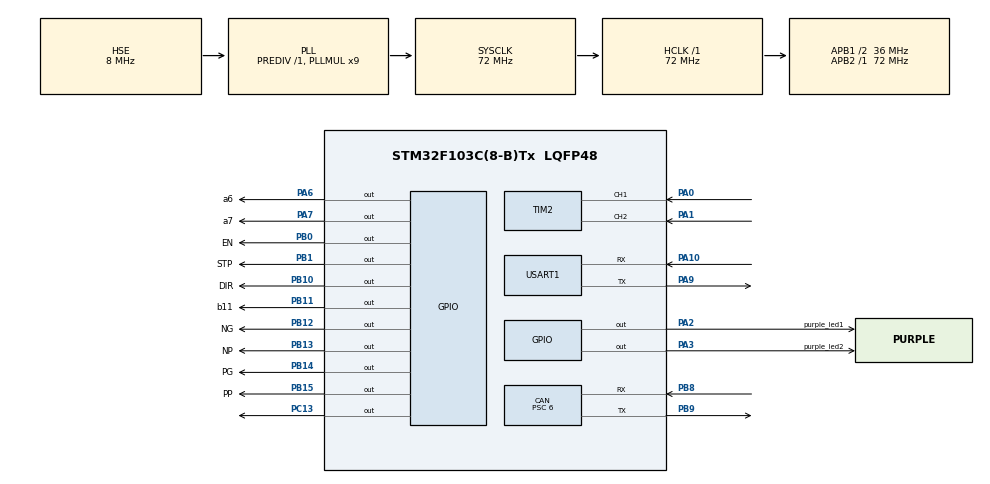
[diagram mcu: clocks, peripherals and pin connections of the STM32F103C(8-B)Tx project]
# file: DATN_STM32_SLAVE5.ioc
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CAN.BS1=CAN_BS1_2TQ
CAN.BS2=CAN_BS2_3TQ
CAN.CalculateBaudRate=999999
CAN.CalculateTimeBit=1000
CAN.CalculateTimeQuantum=166.66666666666669
CAN.NART=DISABLE
CAN.Prescaler=6
Mcu.Family=STM32F1
Mcu.Name=STM32F103C(8-B)Tx
Mcu.Package=LQFP48
NVIC.PriorityGroup=NVIC_PRIORITYGROUP_0
NVIC.TIM1_UP_IRQn=true\:0\:0\:false\:false\:true\:true\:true\:true
NVIC.TIM2_IRQn=true\:0\:0\:false\:false\:true\:true\:true\:true
NVIC.USART1_IRQn=true\:0\:0\:false\:false\:true\:true\:true\:true
NVIC.USB_LP_CAN1_RX0_IRQn=true\:0\:0\:false\:false\:true\:true\:true\:true
PA0-WKUP.GPIO_PuPd=GPIO_PULLUP
PA0-WKUP.Signal=S_TIM2_CH1_ETR
PA1.GPIO_PuPd=GPIO_PULLUP
PA1.Signal=S_TIM2_CH2
PA10.Mode=Asynchronous
PA10.Signal=USART1_RX
PA13.Mode=Serial_Wire
PA13.Signal=SYS_JTMS-SWDIO
PA14.Mode=Serial_Wire
PA14.Signal=SYS_JTCK-SWCLK
PA2.GPIO_Label=purple_led1
PA2.Signal=GPIO_Output
PA3.GPIO_Label=purple_led2
PA3.Signal=GPIO_Output
PA6.GPIO_Label=a6
PA6.Signal=GPIO_Output
PA7.GPIO_Label=a7
PA7.Signal=GPIO_Output
PA9.Mode=Asynchronous
PA9.Signal=USART1_TX
PB0.GPIO_Label=EN
PB0.Signal=GPIO_Output
PB1.GPIO_Label=STP
PB1.Signal=GPIO_Output
PB10.GPIO_Label=DIR
PB10.Signal=GPIO_Output
PB11.GPIO_Label=b11
PB11.Signal=GPIO_Output
PB12.GPIO_Label=NG
PB12.GPIO_Speed=GPIO_SPEED_FREQ_HIGH
PB12.PinState=GPIO_PIN_SET
PB12.Signal=GPIO_Output
PB13.GPIO_Label=NP
PB13.GPIO_Speed=GPIO_SPEED_FREQ_HIGH
PB13.PinState=GPIO_PIN_SET
PB13.Signal=GPIO_Output
PB14.GPIO_Label=PG
PB14.GPIO_Speed=GPIO_SPEED_FREQ_HIGH
PB14.PinState=GPIO_PIN_SET
PB14.Signal=GPIO_Output
PB15.GPIO_Label=PP
PB15.GPIO_Speed=GPIO_SPEED_FREQ_HIGH
PB15.PinState=GPIO_PIN_SET
PB15.Signal=GPIO_Output
PB8.Mode=CAN_Activate
PB8.Signal=CAN_RX
PB9.Mode=CAN_Activate
PB9.Signal=CAN_TX
PC13-TAMPER-RTC.GPIO_Speed=GPIO_SPEED_FREQ_HIGH
PC13-TAMPER-RTC.Signal=GPIO_Output
PC14-OSC32_IN.Mode=LSE-External-Oscillator
PC14-OSC32_IN.Signal=RCC_OSC32_IN
PC15-OSC32_OUT.Mode=LSE-External-Oscillator
PC15-OSC32_OUT.Signal=RCC_OSC32_OUT
PD0-OSC_IN.Mode=HSE-External-Oscillator
PD0-OSC_IN.Signal=RCC_OSC_IN
PD1-OSC_OUT.Mode=HSE-External-Oscillator
PD1-OSC_OUT.Signal=RCC_OSC_OUT
ProjectManager.HeapSize=0x200
ProjectManager.StackSize=0x400
ProjectManager.TargetToolchain=STM32CubeIDE
RCC.AHBFreq_Value=72000000
RCC.APB1CLKDivider=RCC_HCLK_DIV2
RCC.APB1Freq_Value=36000000
RCC.APB1TimFreq_Value=72000000
RCC.APB2Freq_Value=72000000
RCC.APB2TimFreq_Value=72000000
RCC.HCLKFreq_Value=72000000
RCC.PLLMUL=RCC_PLL_MUL9
RCC.PLLSourceVirtual=RCC_PLLSOURCE_HSE
RCC.SYSCLKFreq_VALUE=72000000
RCC.SYSCLKSource=RCC_SYSCLKSOURCE_PLLCLK
RCC.USBFreq_Value=72000000
SH.S_TIM2_CH1_ETR.0=TIM2_CH1,Encoder_Interface
SH.S_TIM2_CH2.0=TIM2_CH2,Encoder_Interface
TIM1.Period=999
TIM1.Prescaler=71
TIM2.AutoReloadPreload=TIM_AUTORELOAD_PRELOAD_DISABLE
TIM2.EncoderMode=TIM_ENCODERMODE_TI12
TIM2.IC1Polarity=TIM_ICPOLARITY_FALLING
TIM2.IC2Polarity=TIM_ICPOLARITY_FALLING
TIM2.TIM_MasterOutputTrigger=TIM_TRGO_ENABLE
TIM2.TIM_MasterSlaveMode=TIM_MASTERSLAVEMODE_ENABLE
TIM4.Prescaler=71
USART1.VirtualMode=VM_ASYNC
VP_TIM1_VS_ClockSourceINT.Mode=Internal
VP_TIM4_VS_ClockSourceINT.Mode=Internal
board=custom

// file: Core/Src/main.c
/* USER CODE BEGIN Header */
/**
 ******************************************************************************
 * @file           : main.c
 * @brief          : Main program body
 ******************************************************************************
 * @attention
 *
 * Copyright (c) 2023 STMicroelectronics.
 * All rights reserved.
 *
 * This software is licensed under terms that can be found in the LICENSE file
 * in the root directory of this software component.
 * If no LICENSE file comes with this software, it is provided AS-IS.
 *
 ******************************************************************************
 */
/* USER CODE END Header */
#include "main.h"

/* USER CODE BEGIN Includes */
#include <stdio.h>
#include <stdbool.h>
#include <string.h>
#include <stdlib.h>
#include <math.h>
/* USER CODE END Includes */

/* USER CODE BEGIN PTD */

CAN_TxHeaderTypeDef TX_CAN_HEADER;
CAN_RxHeaderTypeDef RX_CAN_HEADER;
CAN_FilterTypeDef canfilterconfig;

//=============MODE
#define AC_SERVO 0
#define STP_MOTOR 1

bool Mode = STP_MOTOR;
uint8_t Position;
//=============DEBUG
uint16_t count; // for debug
uint32_t position; // for debug

//=============MOTOR
#define GearboxAC_DtoP 15*1000/360 //Manual setup
#define EncoderResolution 15*200/360 // Encoder with 200ppr and 15 gearbox
#define ConvertEtoA 0.12 // 360/(15*200)
//#define GearboxStep_DtoP 1600*5.61/360 // gear box of step motor
#define GearboxStep_DtoP 1600*13.7*6.5/360 // gear box of step motor

//float Theta_temp=0; //for debug
//float deltaAngle=0;
float previousAngle = 0;

int16_t Angle = 0; //Current Angle
uint16_t resetAngle = 0;

bool Run = false;
//=============UART
#define TxBufferSize 4  //Transmit Data
#define RxBufferSize 10 //Receive Data Position

#define UART_OK 1
#define UART_NOT_OK 0

uint8_t TxDataUart[TxBufferSize];
uint8_t RxDataUart[RxBufferSize];
uint8_t RxSaveUart[RxBufferSize];

//=============CAN
uint8_t CAN_Data_Rx[6]; // du lieu nhan tu can
uint32_t TxMailBox;

float pulseEnd = 0; //luu xung cho lan tiep
bool Check_Data = 0; //kiem tra du lie

uint8_t Data_Decode[6] = {'0'}; // Array temp for data send to master
char Data_Saved[6]; //du lieu duoc luu vao sau khi nhan tu CAN
bool flag_send = false; // cho phep gui du lieu
bool flag_run = false;

//=============TIMER1
bool flag_timer1 = false;
bool flag_enable_send = false;
bool flag_getEncoderStep = false;

uint8_t countSampleTime = 0; // time for sampling
uint8_t countSendData = 0; // time for send data to CAN
uint16_t countEncoder = 0; // time for read encoder

//=============END=============

/* USER CODE END PTD */

/* USER CODE BEGIN PM */
volatile short ExternalPulse;
/* USER CODE END PM */

CAN_HandleTypeDef hcan;

TIM_HandleTypeDef htim1;
TIM_HandleTypeDef htim2;
TIM_HandleTypeDef htim4;

UART_HandleTypeDef huart1;

void SystemClock_Config(void);
static void MX_GPIO_Init(void);
static void MX_TIM1_Init(void);
static void MX_TIM2_Init(void);
static void MX_TIM4_Init(void);
static void MX_CAN_Init(void);
static void MX_USART1_UART_Init(void);

/* USER CODE BEGIN 0 */

//=================ENCODER DATA (Checked)
void EncodeDataDC(uint8_t dataSend[])
{

	int IntValue = abs(Angle/100);
	int DecValue = abs(Angle%100);

	dataSend[0] = DecValue/1%10;
	dataSend[1] = DecValue/10%10;

	dataSend[2] = IntValue/1%10;
	dataSend[3] = IntValue/10%10;
	dataSend[4] = IntValue/100%10;

	if(Angle < 0) dataSend[5] = '-';
	else 		  dataSend[5] = '+';
}

void EncodeDataAC(uint8_t dataSend[])
{
	ExternalPulse = __HAL_TIM_GET_COUNTER(&htim2); // Numbers input pulse
	Angle = ExternalPulse*ConvertEtoA*100;// AC-: 200 Pulse / Cycle * 15 Gear Box *100 to get 2 decimal

	int IntValue = abs(Angle/100);
	int DecValue = abs(Angle%100);

	dataSend[0] = DecValue/1%10;
	dataSend[1] = DecValue/10%10;

	dataSend[2] = IntValue/1%10;
	dataSend[3] = IntValue/10%10;
	dataSend[4] = IntValue/100%10;

	if(Angle < 0) dataSend[5] = '-';
	else	      dataSend[5] = '+';
}

//=================TIMER4 COUNTER MODE DELAY (checked)
void delay_us (uint16_t us)
{
	__HAL_TIM_SET_COUNTER(&htim4,0);
	while (__HAL_TIM_GET_COUNTER(&htim4) < us);
}

//=================CONTROL DC MOTOR (checked tempt)
void ForwardDC(uint16_t l_pulseIn, uint16_t timeDelay)
{
	HAL_GPIO_WritePin(DIR_GPIO_Port, DIR_Pin, GPIO_PIN_SET);
	for(uint16_t i =0; i < l_pulseIn; i++)
	{
		HAL_GPIO_WritePin(STP_GPIO_Port, STP_Pin, GPIO_PIN_SET);
		delay_us(timeDelay);
		HAL_GPIO_WritePin(STP_GPIO_Port, STP_Pin, GPIO_PIN_RESET);
		delay_us(timeDelay);
	}
}
void InverseDC(uint16_t l_pulseIn, uint16_t timeDelay)
{
	HAL_GPIO_WritePin(DIR_GPIO_Port, DIR_Pin, GPIO_PIN_RESET);
	for(uint16_t i = 0; i < l_pulseIn; i++)
	{
		HAL_GPIO_WritePin(STP_GPIO_Port, STP_Pin, GPIO_PIN_SET);
		delay_us(timeDelay);
		HAL_GPIO_WritePin(STP_GPIO_Port, STP_Pin, GPIO_PIN_RESET);
		delay_us(timeDelay);
	}
}

//=================CONTROL AC SERVO (checked tempt)
void Create_pulse_Forward_AC(uint32_t pulse_in, uint32_t time_delay)
{
	HAL_GPIO_WritePin(GPIOB, NP_Pin, GPIO_PIN_SET);
	for (int i = 0; i < pulse_in; i++)
	{
		HAL_GPIO_WritePin(GPIOB, PP_Pin, GPIO_PIN_RESET);
		delay_us(time_delay);
		HAL_GPIO_WritePin(GPIOB, PP_Pin, GPIO_PIN_SET);
		delay_us(time_delay);
	}
}
void Create_pulse_Inverse_AC(uint32_t pulse_in, uint32_t time_delay)
{
	HAL_GPIO_WritePin(GPIOB, NP_Pin, GPIO_PIN_RESET);
	for (int i = 0; i < pulse_in; i++)
	{
		HAL_GPIO_WritePin(GPIOB, PP_Pin, GPIO_PIN_RESET);
		delay_us(time_delay);
		HAL_GPIO_WritePin(GPIOB, PP_Pin, GPIO_PIN_SET);
		delay_us(time_delay);
	}
}

//=================MODE CONTROL AC SERVO/DC MOTOR (Checked)
void Control_Motor(float DELTA)
{
	if(Mode == AC_SERVO)
	{
		float deltaPulse = DELTA*GearboxAC_DtoP; //number 15*1000/360
		pulseEnd += deltaPulse - (int32_t)deltaPulse;
		int32_t pulseSupply = deltaPulse + (int32_t)pulseEnd/1;

		pulseEnd -= (int32_t)pulseEnd/1;
		if(pulseSupply > 0)
		{
			Create_pulse_Forward_AC(abs(pulseSupply), 10);
		}
		else
		{
			Create_pulse_Inverse_AC(abs(pulseSupply), 10);
		}
	}
	if(Mode == STP_MOTOR)
	{
		float deltaPulse = DELTA*GearboxStep_DtoP;
		pulseEnd += deltaPulse - (int32_t)deltaPulse;
		int32_t pulseSupply = deltaPulse + (int32_t)pulseEnd/1;

		pulseEnd -= (int32_t)pulseEnd/1;
		if(pulseSupply > 0)
		{
			ForwardDC(abs(pulseSupply), 100);
		}
		else if(pulseSupply < 0)
		{
			InverseDC(abs(pulseSupply), 100);
		}
		else;
	}
}

//=================TIMER1 TIMER MODE SAMPLE TIME (checked)
void HAL_TIM_PeriodElapsedCallback(TIM_HandleTypeDef *htim)
{
	if(htim->Instance == TIM1)
	{
		countSampleTime++;
		countSendData++;
		if(countSampleTime == 30)
		{
			flag_timer1 = true;
			countSampleTime = 0;
		}
		if(countSendData == 10)
		{
			flag_enable_send = true;
			countSendData = 0;
		}
	}
}
//=================TIMER2 EXTERNAL COUNTER MODE ENCODER (Checked)
void HAL_TIM_IC_CaptureCallback(TIM_HandleTypeDef *htim)
{
	if(htim->Instance == TIM2)
	{
		ExternalPulse = __HAL_TIM_GET_COUNTER(&htim2);
	}
}

//=================INTERRUPT CAN RECEIVE MESSAGE (Checked)
void HAL_CAN_RxFifo0MsgPendingCallback(CAN_HandleTypeDef *hcan)
{
	if(HAL_CAN_GetRxMessage(hcan, CAN_RX_FIFO0, &RX_CAN_HEADER, CAN_Data_Rx) == HAL_OK)
	{
		switch(RX_CAN_HEADER.StdId)
		{
		case 0x010:
			Data_Saved[0] = CAN_Data_Rx[0];
			Data_Saved[1] = CAN_Data_Rx[1];
			Data_Saved[2] = CAN_Data_Rx[2];
			Data_Saved[3] = CAN_Data_Rx[3];
			Data_Saved[4] = CAN_Data_Rx[4];
			Data_Saved[5] = CAN_Data_Rx[5];
			HAL_GPIO_TogglePin(GPIOC, GPIO_PIN_13);
			break;
		case 0x000:
			if(CAN_Data_Rx[0] == 's')
			{
				flag_run = true;
			}
			if(CAN_Data_Rx[0] == '5')
			{
				flag_send = true;
				HAL_GPIO_TogglePin(purple_led1_GPIO_Port, purple_led1_Pin);
			}
			if(CAN_Data_Rx[0] == 'r')
			{
				TIM2->CNT=0;
				ExternalPulse = 0;
				resetAngle = Angle;
				Angle = 0;
				previousAngle = 0;
			}
			break;
		}
	}
}
/* USER CODE END 0 */

int main(void)
{

	/* MCU Configuration--------------------------------------------------------*/

	/* Reset of all peripherals, Initializes the Flash interface and the Systick. */
	HAL_Init();

	/* Configure the system clock */
	SystemClock_Config();

	/* Initialize all configured peripherals */
	MX_GPIO_Init();
	MX_TIM1_Init();
	MX_TIM2_Init();
	MX_TIM4_Init();
	MX_CAN_Init();
	MX_USART1_UART_Init();
	/* USER CODE BEGIN 2 */

	//========CAN
	HAL_CAN_Start(&hcan);
	HAL_CAN_ActivateNotification(&hcan, CAN_IT_RX_FIFO0_MSG_PENDING); // Enable interrupts

	//========TIMER AND COUNTER
	HAL_TIM_Base_Start(&htim4);
	HAL_TIM_Base_Start_IT(&htim1);

	//========SET DEFAULT PIN MODE
	HAL_GPIO_WritePin(GPIOB, PG_Pin, GPIO_PIN_SET);
	HAL_GPIO_WritePin(GPIOB, NG_Pin, GPIO_PIN_SET);
	HAL_GPIO_WritePin(GPIOB, PP_Pin, GPIO_PIN_SET);
	HAL_GPIO_WritePin(GPIOB, NP_Pin, GPIO_PIN_SET);

	//========STEP MOTOR SET PIN
	HAL_GPIO_WritePin(GPIOB, EN_Pin, GPIO_PIN_RESET); //Enable Step
	HAL_GPIO_WritePin(GPIOB, STP_Pin, GPIO_PIN_RESET);
	HAL_GPIO_WritePin(GPIOB, DIR_Pin, GPIO_PIN_RESET);

	HAL_GPIO_WritePin(purple_led1_GPIO_Port, purple_led1_Pin, GPIO_PIN_SET);
	HAL_GPIO_WritePin(purple_led2_GPIO_Port, purple_led2_Pin, GPIO_PIN_SET);
	/* USER CODE END 2 */

	/* Infinite loop */
	while (1)
	{

		/* USER CODE BEGIN 3 */
		if(flag_timer1 == true)
		{
			flag_timer1 = false;
			if(flag_run == true)
			{
				flag_run = false;
				float Theta_temp = atoi(Data_Saved);
				float deltaAngle = Theta_temp/100 - previousAngle;
				Control_Motor(deltaAngle);
				previousAngle += deltaAngle;
			}
		}
		//==========UPDATE INFO FOR MASTER AND SLAVE 2
		if(flag_send == true && flag_enable_send == true)
		{
			//Down-flag for next time.
			flag_send = false;
			flag_enable_send = false;

			if(Mode == AC_SERVO) EncodeDataAC(Data_Decode);
			else EncodeDataDC(Data_Decode);

			TX_CAN_HEADER.StdId = 0x010; //Send to Master
			if(HAL_CAN_AddTxMessage(&hcan, &TX_CAN_HEADER, Data_Decode, &TxMailBox) == HAL_OK)
			{
				HAL_GPIO_TogglePin(purple_led2_GPIO_Port, purple_led2_Pin);
			}
			delay_us(300);

			TX_CAN_HEADER.StdId = 0x000; //Send to all
			uint8_t RunCode;
			RunCode = '6'; // RunCode for Motor6
			if(HAL_CAN_AddTxMessage(&hcan, &TX_CAN_HEADER, &RunCode, &TxMailBox)==HAL_OK)
			{
				HAL_GPIO_TogglePin(purple_led1_GPIO_Port, purple_led1_Pin);
			}
		}
	}
	/* USER CODE END 3 */
}

void SystemClock_Config(void)
{
	RCC_OscInitTypeDef RCC_OscInitStruct = {0};
	RCC_ClkInitTypeDef RCC_ClkInitStruct = {0};

	/** Initializes the RCC Oscillators according to the specified parameters
	 * in the RCC_OscInitTypeDef structure.
	 */
	RCC_OscInitStruct.OscillatorType = RCC_OSCILLATORTYPE_HSE;
	RCC_OscInitStruct.HSEState = RCC_HSE_ON;
	RCC_OscInitStruct.HSEPredivValue = RCC_HSE_PREDIV_DIV1;
	RCC_OscInitStruct.HSIState = RCC_HSI_ON;
	RCC_OscInitStruct.PLL.PLLState = RCC_PLL_ON;
	RCC_OscInitStruct.PLL.PLLSource = RCC_PLLSOURCE_HSE;
	RCC_OscInitStruct.PLL.PLLMUL = RCC_PLL_MUL9;
	if (HAL_RCC_OscConfig(&RCC_OscInitStruct) != HAL_OK)
	{
		Error_Handler();
	}

	/** Initializes the CPU, AHB and APB buses clocks
	 */
	RCC_ClkInitStruct.ClockType = RCC_CLOCKTYPE_HCLK|RCC_CLOCKTYPE_SYSCLK
			|RCC_CLOCKTYPE_PCLK1|RCC_CLOCKTYPE_PCLK2;
	RCC_ClkInitStruct.SYSCLKSource = RCC_SYSCLKSOURCE_PLLCLK;
	RCC_ClkInitStruct.AHBCLKDivider = RCC_SYSCLK_DIV1;
	RCC_ClkInitStruct.APB1CLKDivider = RCC_HCLK_DIV2;
	RCC_ClkInitStruct.APB2CLKDivider = RCC_HCLK_DIV1;

	if (HAL_RCC_ClockConfig(&RCC_ClkInitStruct, FLASH_LATENCY_2) != HAL_OK)
	{
		Error_Handler();
	}
}

static void MX_CAN_Init(void)
{

	hcan.Instance = CAN1;
	hcan.Init.Prescaler = 6;
	hcan.Init.Mode = CAN_MODE_NORMAL;
	hcan.Init.SyncJumpWidth = CAN_SJW_1TQ;
	hcan.Init.TimeSeg1 = CAN_BS1_2TQ;
	hcan.Init.TimeSeg2 = CAN_BS2_3TQ;
	hcan.Init.TimeTriggeredMode = DISABLE;
	hcan.Init.AutoBusOff = DISABLE;
	hcan.Init.AutoWakeUp = DISABLE;
	hcan.Init.AutoRetransmission = DISABLE;
	hcan.Init.ReceiveFifoLocked = DISABLE;
	hcan.Init.TransmitFifoPriority = DISABLE;
	if (HAL_CAN_Init(&hcan) != HAL_OK)
	{
		Error_Handler();
	}
	/* USER CODE BEGIN CAN_Init 2 */
	canfilterconfig.FilterActivation = CAN_FILTER_ENABLE;
	canfilterconfig.FilterBank = 1; // which filter bank to use from the assigned ones
	canfilterconfig.FilterFIFOAssignment = CAN_FILTER_FIFO0; //
	canfilterconfig.FilterIdHigh = 0x010 << 5;
	canfilterconfig.FilterIdLow = 0x000;
	canfilterconfig.FilterMaskIdHigh = 0xfef << 5;
	canfilterconfig.FilterMaskIdLow = 0x000;
	canfilterconfig.FilterMode = CAN_FILTERMODE_IDMASK;
	canfilterconfig.FilterScale = CAN_FILTERSCALE_32BIT;
	canfilterconfig.SlaveStartFilterBank = 1;

	if(HAL_CAN_ConfigFilter(&hcan, &canfilterconfig) != HAL_OK) // add
	{
		Error_Handler();
	}
	/* -----------------------------CAN Transmit and Interrrupts ----------------------------- */
	TX_CAN_HEADER.RTR= CAN_RTR_DATA; //Remote transmission request = Data frame
	TX_CAN_HEADER.IDE= CAN_ID_STD; 	 //Standard Id (11 bits for the identifier)
	TX_CAN_HEADER.DLC= 6;
	TX_CAN_HEADER.StdId = 0x010;
	/* USER CODE END CAN_Init 2 */

}

static void MX_TIM1_Init(void)
{

	TIM_ClockConfigTypeDef sClockSourceConfig = {0};
	TIM_MasterConfigTypeDef sMasterConfig = {0};

	htim1.Instance = TIM1;
	htim1.Init.Prescaler = 71;
	htim1.Init.CounterMode = TIM_COUNTERMODE_UP;
	htim1.Init.Period = 99;
	htim1.Init.ClockDivision = TIM_CLOCKDIVISION_DIV1;
	htim1.Init.RepetitionCounter = 0;
	htim1.Init.AutoReloadPreload = TIM_AUTORELOAD_PRELOAD_DISABLE;
	if (HAL_TIM_Base_Init(&htim1) != HAL_OK)
	{
		Error_Handler();
	}
	sClockSourceConfig.ClockSource = TIM_CLOCKSOURCE_INTERNAL;
	if (HAL_TIM_ConfigClockSource(&htim1, &sClockSourceConfig) != HAL_OK)
	{
		Error_Handler();
	}
	sMasterConfig.MasterOutputTrigger = TIM_TRGO_RESET;
	sMasterConfig.MasterSlaveMode = TIM_MASTERSLAVEMODE_DISABLE;
	if (HAL_TIMEx_MasterConfigSynchronization(&htim1, &sMasterConfig) != HAL_OK)
	{
		Error_Handler();
	}

}

static void MX_TIM2_Init(void)
{

	TIM_Encoder_InitTypeDef sConfig = {0};
	TIM_MasterConfigTypeDef sMasterConfig = {0};

	htim2.Instance = TIM2;
	htim2.Init.Prescaler = 0;
	htim2.Init.CounterMode = TIM_COUNTERMODE_UP;
	htim2.Init.Period = 65535;
	htim2.Init.ClockDivision = TIM_CLOCKDIVISION_DIV1;
	htim2.Init.AutoReloadPreload = TIM_AUTORELOAD_PRELOAD_DISABLE;
	sConfig.EncoderMode = TIM_ENCODERMODE_TI12;
	sConfig.IC1Polarity = TIM_ICPOLARITY_FALLING;
	sConfig.IC1Selection = TIM_ICSELECTION_DIRECTTI;
	sConfig.IC1Prescaler = TIM_ICPSC_DIV1;
	sConfig.IC1Filter = 0;
	sConfig.IC2Polarity = TIM_ICPOLARITY_FALLING;
	sConfig.IC2Selection = TIM_ICSELECTION_DIRECTTI;
	sConfig.IC2Prescaler = TIM_ICPSC_DIV1;
	sConfig.IC2Filter = 0;
	if (HAL_TIM_Encoder_Init(&htim2, &sConfig) != HAL_OK)
	{
		Error_Handler();
	}
	sMasterConfig.MasterOutputTrigger = TIM_TRGO_ENABLE;
	sMasterConfig.MasterSlaveMode = TIM_MASTERSLAVEMODE_ENABLE;
	if (HAL_TIMEx_MasterConfigSynchronization(&htim2, &sMasterConfig) != HAL_OK)
	{
		Error_Handler();
	}

}

static void MX_TIM4_Init(void)
{

	TIM_ClockConfigTypeDef sClockSourceConfig = {0};
	TIM_MasterConfigTypeDef sMasterConfig = {0};

	htim4.Instance = TIM4;
	htim4.Init.Prescaler = 71;
	htim4.Init.CounterMode = TIM_COUNTERMODE_UP;
	htim4.Init.Period = 65535;
	htim4.Init.ClockDivision = TIM_CLOCKDIVISION_DIV1;
	htim4.Init.AutoReloadPreload = TIM_AUTORELOAD_PRELOAD_DISABLE;
	if (HAL_TIM_Base_Init(&htim4) != HAL_OK)
	{
		Error_Handler();
	}
	sClockSourceConfig.ClockSource = TIM_CLOCKSOURCE_INTERNAL;
	if (HAL_TIM_ConfigClockSource(&htim4, &sClockSourceConfig) != HAL_OK)
	{
		Error_Handler();
	}
	sMasterConfig.MasterOutputTrigger = TIM_TRGO_RESET;
	sMasterConfig.MasterSlaveMode = TIM_MASTERSLAVEMODE_DISABLE;
	if (HAL_TIMEx_MasterConfigSynchronization(&htim4, &sMasterConfig) != HAL_OK)
	{
		Error_Handler();
	}

}

static void MX_USART1_UART_Init(void)
{

	huart1.Instance = USART1;
	huart1.Init.BaudRate = 115200;
	huart1.Init.WordLength = UART_WORDLENGTH_8B;
	huart1.Init.StopBits = UART_STOPBITS_1;
	huart1.Init.Parity = UART_PARITY_NONE;
	huart1.Init.Mode = UART_MODE_TX_RX;
	huart1.Init.HwFlowCtl = UART_HWCONTROL_NONE;
	huart1.Init.OverSampling = UART_OVERSAMPLING_16;
	if (HAL_UART_Init(&huart1) != HAL_OK)
	{
		Error_Handler();
	}

}

static void MX_GPIO_Init(void)
{
	GPIO_InitTypeDef GPIO_InitStruct = {0};

	/* GPIO Ports Clock Enable */
	__HAL_RCC_GPIOC_CLK_ENABLE();
	__HAL_RCC_GPIOD_CLK_ENABLE();
	__HAL_RCC_GPIOA_CLK_ENABLE();
	__HAL_RCC_GPIOB_CLK_ENABLE();

	/*Configure GPIO pin Output Level */
	HAL_GPIO_WritePin(GPIOC, GPIO_PIN_13, GPIO_PIN_RESET);

	/*Configure GPIO pin Output Level */
	HAL_GPIO_WritePin(GPIOA, purple_led1_Pin|purple_led2_Pin|a6_Pin|a7_Pin, GPIO_PIN_RESET);

	/*Configure GPIO pin Output Level */
	HAL_GPIO_WritePin(GPIOB, EN_Pin|STP_Pin|DIR_Pin|b11_Pin, GPIO_PIN_RESET);

	/*Configure GPIO pin Output Level */
	HAL_GPIO_WritePin(GPIOB, NG_Pin|NP_Pin|PG_Pin|PP_Pin, GPIO_PIN_SET);

	/*Configure GPIO pin : PC13 */
	GPIO_InitStruct.Pin = GPIO_PIN_13;
	GPIO_InitStruct.Mode = GPIO_MODE_OUTPUT_PP;
	GPIO_InitStruct.Pull = GPIO_NOPULL;
	GPIO_InitStruct.Speed = GPIO_SPEED_FREQ_HIGH;
	HAL_GPIO_Init(GPIOC, &GPIO_InitStruct);

	/*Configure GPIO pins : purple_led1_Pin purple_led2_Pin a6_Pin a7_Pin */
	GPIO_InitStruct.Pin = purple_led1_Pin|purple_led2_Pin|a6_Pin|a7_Pin;
	GPIO_InitStruct.Mode = GPIO_MODE_OUTPUT_PP;
	GPIO_InitStruct.Pull = GPIO_NOPULL;
	GPIO_InitStruct.Speed = GPIO_SPEED_FREQ_LOW;
	HAL_GPIO_Init(GPIOA, &GPIO_InitStruct);

	/*Configure GPIO pins : EN_Pin STP_Pin DIR_Pin b11_Pin */
	GPIO_InitStruct.Pin = EN_Pin|STP_Pin|DIR_Pin|b11_Pin;
	GPIO_InitStruct.Mode = GPIO_MODE_OUTPUT_PP;
	GPIO_InitStruct.Pull = GPIO_NOPULL;
	GPIO_InitStruct.Speed = GPIO_SPEED_FREQ_LOW;
	HAL_GPIO_Init(GPIOB, &GPIO_InitStruct);

	/*Configure GPIO pins : NG_Pin NP_Pin PG_Pin PP_Pin */
	GPIO_InitStruct.Pin = NG_Pin|NP_Pin|PG_Pin|PP_Pin;
	GPIO_InitStruct.Mode = GPIO_MODE_OUTPUT_PP;
	GPIO_InitStruct.Pull = GPIO_NOPULL;
	GPIO_InitStruct.Speed = GPIO_SPEED_FREQ_HIGH;
	HAL_GPIO_Init(GPIOB, &GPIO_InitStruct);

}

void Error_Handler(void)
{
	__disable_irq();
	while (1)
	{
	}
}
